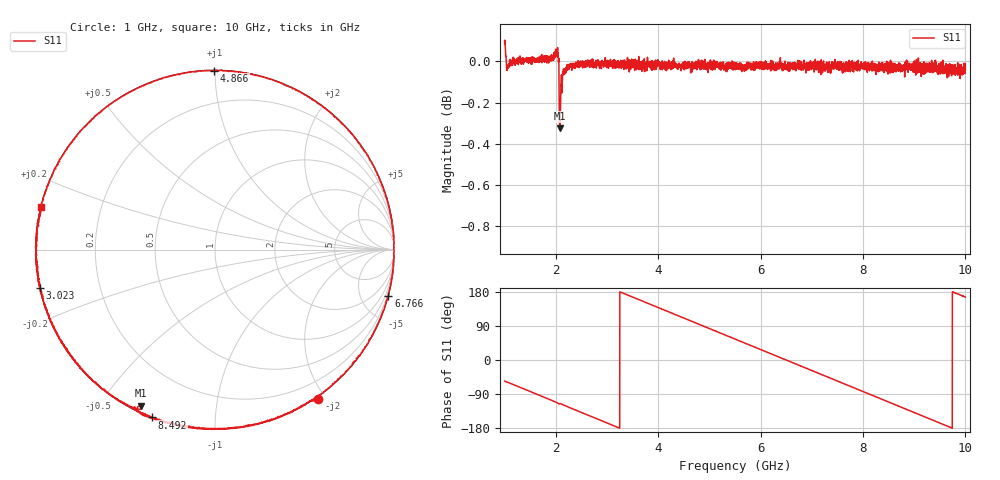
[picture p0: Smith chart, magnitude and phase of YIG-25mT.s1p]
#  HZ  S  RI  R  50.0
! Rohde & Schwarz ZVL13 2Ports - Version 3.31 - 1303.6509k13 SN: 101088
! Date: 2023-03-02 16:55:36
! Data & Calibration Information:
! Trc2:S21(Trans Norm)
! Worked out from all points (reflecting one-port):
!   4000 points, 1 GHz to 10 GHz, reference 50 ohm
!   lowest |S11| = -0.3 dB at 2.08 GHz (marker M1), VSWR 53.43, Z = 1.31 - j31.6 ohm
!   phase of S11 starts at -56 deg and turns -498 deg over the sweep
!   S11 on the Smith chart (normalised r, x): 1 GHz: -0.03, -1.90; 3.023 GHz: -0.00, -0.11; 4.866 GHz: 0.00, +1.00; 6.766 GHz: -0.01, -7.64; 8.492 GHz: 0.00, -0.69; 10 GHz: 0.00, +0.12
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1e9  0.5716 -0.8349
1.317329e9  0.2922 -0.9558
1.578395e9  0.044 -1.001
1.875469e9  -0.244 -0.9725
2.08027e9  -0.4138 -0.8698
2.125281e9  -0.4498 -0.8801
2.604651e9  -0.8101 -0.5851
3.023256e9  -0.9773 -0.2142
3.250563e9  -0.9969 0.00193
3.516129e9  -0.9657 0.256
3.7997e9  -0.8601 0.5066
4.375844e9  -0.4611 0.8851
4.866467e9  -0.00462 0.9974
5.177044e9  0.2901 0.9558
5.501125e9  0.5686 0.8174
6.070518e9  0.9125 0.4019
6.35859e9  0.9871 0.1357
6.626407e9  0.9895 -0.1255
6.765941e9  0.9665 -0.2575
7.256564e9  0.7387 -0.6698
7.751688e9  0.3501 -0.9305
8.129782e9  -0.00745 -0.9989
8.492123e9  -0.3496 -0.9348
8.876969e9  -0.6631 -0.7416
9.178545e9  -0.8517 -0.5206
9.444111e9  -0.9523 -0.2854
9.729932e9  -0.9918 -0.0175
1e10  -0.9656 0.2411
